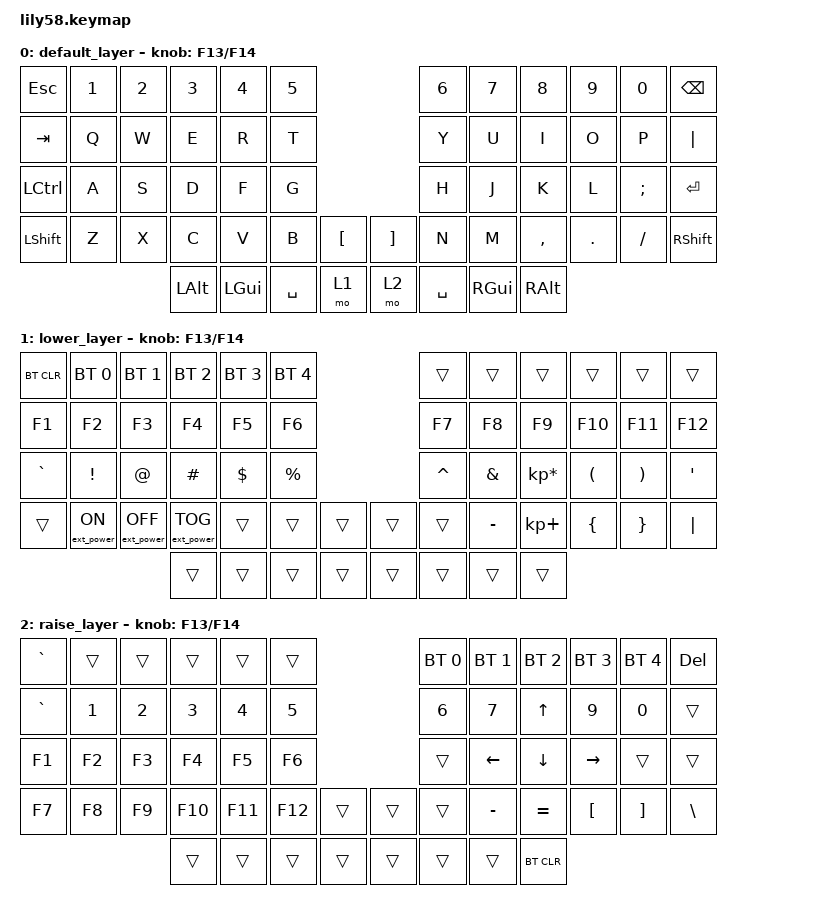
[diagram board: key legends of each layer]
/*
 * Copyright (c) 2020 The ZMK Contributors
 *
 * SPDX-License-Identifier: MIT
 */

#include <behaviors.dtsi>
#include <dt-bindings/zmk/keys.h>
#include <dt-bindings/zmk/bt.h>
#include <dt-bindings/zmk/ext_power.h>

/ {
	keymap {
		compatible = "zmk,keymap";

		default_layer {
// ------------------------------------------------------------------------------------------------------------
// |  ESC  |  1  |  2  |  3   |  4   |  5   |                   |  6   |  7    |  8    |  9   |   0   | BSPC  |
// |  TAB  |  Q  |  W  |  E   |  R   |  T   |                   |  Y   |  U    |  I    |  O   |   P   |  "|"  |
// |  CTRL |  A  |  S  |  D   |  F   |  G   |                   |  H   |  J    |  K    |  L   |   ;   | ENTER |
// | SHIFT |  Z  |  X  |  C   |  V   |  B   |   "["  |  |  "]"  |  N   |  M    |  ,    |  .   |   /   | SHIFT |
//                     | ALT  | GUI  | SPACE|  LOWER |  | RAISE | SPACE| GUI   | ALT   |
			bindings = <
&kp ESC   &kp N1 &kp N2 &kp N3   &kp N4   &kp N5                         &kp N6     &kp N7   &kp N8    &kp N9  &kp N0   &kp BSPC
&kp TAB   &kp Q  &kp W  &kp E    &kp R    &kp T                          &kp Y      &kp U    &kp I     &kp O   &kp P    &kp PIPE
&kp LCTRL &kp A  &kp S  &kp D    &kp F    &kp G                          &kp H      &kp J    &kp K     &kp L   &kp SEMI &kp RET
&kp LSHFT &kp Z  &kp X  &kp C    &kp V    &kp B      &kp LBKT   &kp RBKT &kp N      &kp M    &kp COMMA &kp DOT &kp FSLH &kp RSHFT
                        &kp LALT &kp LGUI &kp SPACE  &mo 1      &mo 2    &kp SPACE  &kp RGUI &kp RALT
			>;

			//sensor-bindings = <&inc_dec_kp C_VOL_DN C_VOL_UP>;
            sensor-bindings = <&inc_dec_kp F13 F14>;
		};

		lower_layer {
// ------------------------------------------------------------------------------------------------------------
// | BTCLR | BT1 | BT2 |  BT3 |  BT4 |  BT5 |                   |      |       |       |      |       |       |
// |  F1   |  F2 |  F3 |  F4  |  F5  |  F6  |                   |  F7  |  F8   |  F9   |  F10 |  F11  |  F12  |
// |   `   |  !  |  @  |  #   |  $   |  %   |                   |  ^   |  &    |  *    |  (   |   )   |   '   |
// |       |     |     |      |      |      |        |  |       |      |  _    |  +    |  {   |   }   |  "|"  |
//                     |      |      |      |        |  |       |      |       |       |
			bindings = <
&bt BT_CLR &bt BT_SEL 0     &bt BT_SEL 1      &bt BT_SEL 2      &bt BT_SEL 3 &bt BT_SEL 4                 &trans    &trans    &trans          &trans    &trans    &trans
&kp F1     &kp F2           &kp F3            &kp F4            &kp F5       &kp F6                       &kp F7    &kp F8    &kp F9          &kp F10   &kp F11   &kp F12
&kp GRAVE  &kp EXCL         &kp AT            &kp HASH          &kp DOLLAR   &kp PRCNT                    &kp CARET &kp AMPS  &kp KP_MULTIPLY &kp LPAR  &kp RPAR  &kp SQT
&trans     &ext_power EP_ON &ext_power EP_OFF &ext_power EP_TOG &trans       &trans    &trans   &trans    &trans    &kp MINUS &kp KP_PLUS     &kp LBRC  &kp RBRC  &kp PIPE
                                              &trans            &trans       &trans    &trans   &trans    &trans    &trans    &trans
			>;

			//sensor-bindings = <&inc_dec_kp C_VOL_DN C_VOL_UP>;
            sensor-bindings = <&inc_dec_kp F13 F14>;
		};

		raise_layer {
// ------------------------------------------------------------------------------------------------------------
// |   `   |     |     |      |      |      |                   |  BT1  |  BT2  | BT3   | BT4  |  BT5  |  DEL  |
// |   `   |  1  |  2  |  3   |  4   |  5   |                   |   6   |   7   |   ^   |  9   |   0   |       |
// |   F1  |  F2 |  F3 |  F4  |  F5  |  F6  |                   |       |   <-  |   v   |  ->  |       |       |
// |   F7  |  F8 |  F9 |  F10 |  F11 |  F12 |        |  |       |   ñ   |   -   |   =   |  [   |   ]   |   \   |
//                     |      |      |      |        |  |       |       |       | BTCLR |
			bindings = <
&kp GRAVE &trans &trans &trans  &trans  &trans                       &bt BT_SEL 0   &bt BT_SEL 1    &bt BT_SEL 2    &bt BT_SEL 3    &bt BT_SEL 4    &kp DEL
&kp GRAVE &kp N1 &kp N2 &kp N3  &kp N4  &kp N5                       &kp N6         &kp N7          &kp UP          &kp N9          &kp N0          &trans
&kp F1    &kp F2 &kp F3 &kp F4  &kp F5  &kp F6                       &trans         &kp LEFT        &kp DOWN        &kp RIGHT       &trans          &trans
&kp F7    &kp F8 &kp F9 &kp F10 &kp F11 &kp F12   &trans   &trans    &trans         &kp MINUS       &kp EQUAL       &kp LBKT        &kp RBKT        &kp BSLH
                        &trans  &trans  &trans    &trans   &trans    &trans         &trans          &bt BT_CLR
			>;

			//sensor-bindings = <&inc_dec_kp C_VOL_DN C_VOL_UP>;
            sensor-bindings = <&inc_dec_kp F13 F14>;
		};
	};
};
